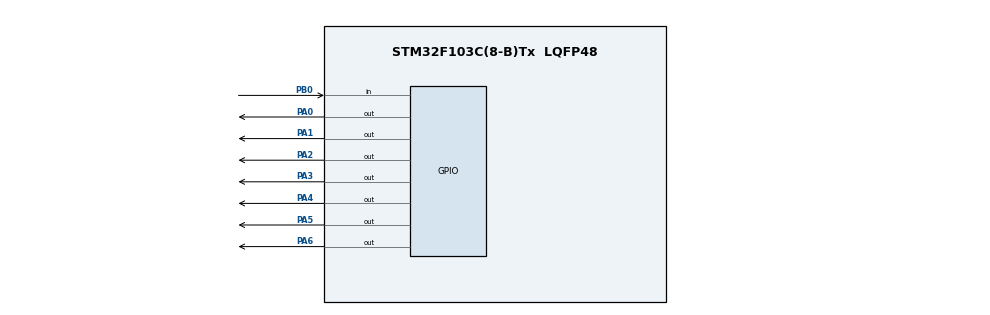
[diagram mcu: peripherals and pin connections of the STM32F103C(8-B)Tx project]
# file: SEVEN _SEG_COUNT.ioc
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Mcu.Family=STM32F1
Mcu.Name=STM32F103C(8-B)Tx
Mcu.Package=LQFP48
NVIC.PriorityGroup=NVIC_PRIORITYGROUP_4
PA0-WKUP.Signal=GPIO_Output
PA1.Signal=GPIO_Output
PA2.Signal=GPIO_Output
PA3.Signal=GPIO_Output
PA4.Signal=GPIO_Output
PA5.Signal=GPIO_Output
PA6.Signal=GPIO_Output
PB0.Signal=GPIO_Input
ProjectManager.HeapSize=0x200
ProjectManager.StackSize=0x400
ProjectManager.TargetToolchain=STM32CubeIDE
RCC.APB1Freq_Value=8000000
RCC.APB2Freq_Value=8000000
board=custom

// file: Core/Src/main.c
/* USER CODE BEGIN Header */
/**
  ******************************************************************************
  * @file           : main.c
  * @brief          : Main program body
  ******************************************************************************
  * @attention
  *
  * Copyright (c) 2024 STMicroelectronics.
  * All rights reserved.
  *
  * This software is licensed under terms that can be found in the LICENSE file
  * in the root directory of this software component.
  * If no LICENSE file comes with this software, it is provided AS-IS.
  *
  ******************************************************************************
  */
/* USER CODE END Header */
#include "main.h"

void SystemClock_Config(void);
static void MX_GPIO_Init(void);

int main(void)
{

  /* MCU Configuration--------------------------------------------------------*/

  /* Reset of all peripherals, Initializes the Flash interface and the Systick. */
  HAL_Init();

  /* Configure the system clock */
  SystemClock_Config();

  /* Initialize all configured peripherals */
  MX_GPIO_Init();

  /* Infinite loop */
  /* USER CODE BEGIN WHILE */
  uint8_t digit[] = {
                         0b00111111,
                         0b00000110,
                         0b01011011,
                         0b01001111,
                         0b01100110,
                         0b01101101,
                         0b01111101,
                         0b00000111,
                         0b01111111,
                         0b01101111
                         };

  int i = 0;

  while (1)
  {
	  int btnstate = HAL_GPIO_ReadPin(GPIOB, GPIO_PIN_0);
	  HAL_GPIO_WritePin(GPIOA,digit[i],GPIO_PIN_SET);
	  HAL_Delay(100);
	  HAL_GPIO_WritePin(GPIOA, digit[i],GPIO_PIN_RESET);
	  if(btnstate == GPIO_PIN_SET){
		  i++;
		  HAL_GPIO_WritePin(GPIOA,digit[i],GPIO_PIN_SET);\
		  HAL_Delay(100);
		  if(i == 10){
			  i = 0;
		  }

	  }
    /* USER CODE END WHILE */

  }
}

void SystemClock_Config(void)
{
  RCC_OscInitTypeDef RCC_OscInitStruct = {0};
  RCC_ClkInitTypeDef RCC_ClkInitStruct = {0};

  /** Initializes the RCC Oscillators according to the specified parameters
  * in the RCC_OscInitTypeDef structure.
  */
  RCC_OscInitStruct.OscillatorType = RCC_OSCILLATORTYPE_HSI;
  RCC_OscInitStruct.HSIState = RCC_HSI_ON;
  RCC_OscInitStruct.HSICalibrationValue = RCC_HSICALIBRATION_DEFAULT;
  RCC_OscInitStruct.PLL.PLLState = RCC_PLL_NONE;
  if (HAL_RCC_OscConfig(&RCC_OscInitStruct) != HAL_OK)
  {
    Error_Handler();
  }

  /** Initializes the CPU, AHB and APB buses clocks
  */
  RCC_ClkInitStruct.ClockType = RCC_CLOCKTYPE_HCLK|RCC_CLOCKTYPE_SYSCLK
                              |RCC_CLOCKTYPE_PCLK1|RCC_CLOCKTYPE_PCLK2;
  RCC_ClkInitStruct.SYSCLKSource = RCC_SYSCLKSOURCE_HSI;
  RCC_ClkInitStruct.AHBCLKDivider = RCC_SYSCLK_DIV1;
  RCC_ClkInitStruct.APB1CLKDivider = RCC_HCLK_DIV1;
  RCC_ClkInitStruct.APB2CLKDivider = RCC_HCLK_DIV1;

  if (HAL_RCC_ClockConfig(&RCC_ClkInitStruct, FLASH_LATENCY_0) != HAL_OK)
  {
    Error_Handler();
  }
}

static void MX_GPIO_Init(void)
{
  GPIO_InitTypeDef GPIO_InitStruct = {0};

  /* GPIO Ports Clock Enable */
  __HAL_RCC_GPIOA_CLK_ENABLE();
  __HAL_RCC_GPIOB_CLK_ENABLE();

  /*Configure GPIO pin Output Level */
  HAL_GPIO_WritePin(GPIOA, GPIO_PIN_0|GPIO_PIN_1|GPIO_PIN_2|GPIO_PIN_3
                          |GPIO_PIN_4|GPIO_PIN_5|GPIO_PIN_6, GPIO_PIN_RESET);

  /*Configure GPIO pins : PA0 PA1 PA2 PA3
                           PA4 PA5 PA6 */
  GPIO_InitStruct.Pin = GPIO_PIN_0|GPIO_PIN_1|GPIO_PIN_2|GPIO_PIN_3
                          |GPIO_PIN_4|GPIO_PIN_5|GPIO_PIN_6;
  GPIO_InitStruct.Mode = GPIO_MODE_OUTPUT_PP;
  GPIO_InitStruct.Pull = GPIO_NOPULL;
  GPIO_InitStruct.Speed = GPIO_SPEED_FREQ_LOW;
  HAL_GPIO_Init(GPIOA, &GPIO_InitStruct);

  /*Configure GPIO pin : PB0 */
  GPIO_InitStruct.Pin = GPIO_PIN_0;
  GPIO_InitStruct.Mode = GPIO_MODE_INPUT;
  GPIO_InitStruct.Pull = GPIO_NOPULL;
  HAL_GPIO_Init(GPIOB, &GPIO_InitStruct);

}

void Error_Handler(void)
{
  __disable_irq();
  while (1)
  {
  }
}
